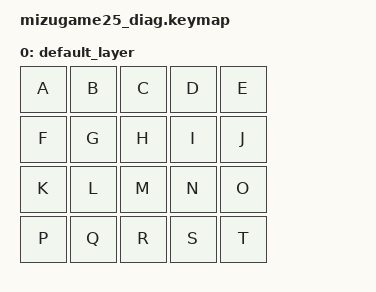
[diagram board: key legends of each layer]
/*
 * Mizugame25 diagnostic keymap
 *
 * SW1    SW2    SW3    SW4    SW5
 *  A      B      C      D      E
 *
 * SW6    SW7    SW8    SW9    SW10
 *  F      G      H      I      J
 *
 * SW11   SW12   SW13   SW14   RE1
 *  K      L      M      N      O
 *
 * ADSW1  ADSW2  ADSW3  ADSW4  ADSW5
 *  P      Q      R      S      T
 */

#include <behaviors.dtsi>
#include <dt-bindings/zmk/keys.h>

/ {
    keymap {
        compatible = "zmk,keymap";

        default_layer {
            bindings = <
                &kp A  &kp B  &kp C  &kp D  &kp E
                &kp F  &kp G  &kp H  &kp I  &kp J
                &kp K  &kp L  &kp M  &kp N  &kp O
                &kp P  &kp Q  &kp R  &kp S  &kp T
            >;
        };
    };
};
